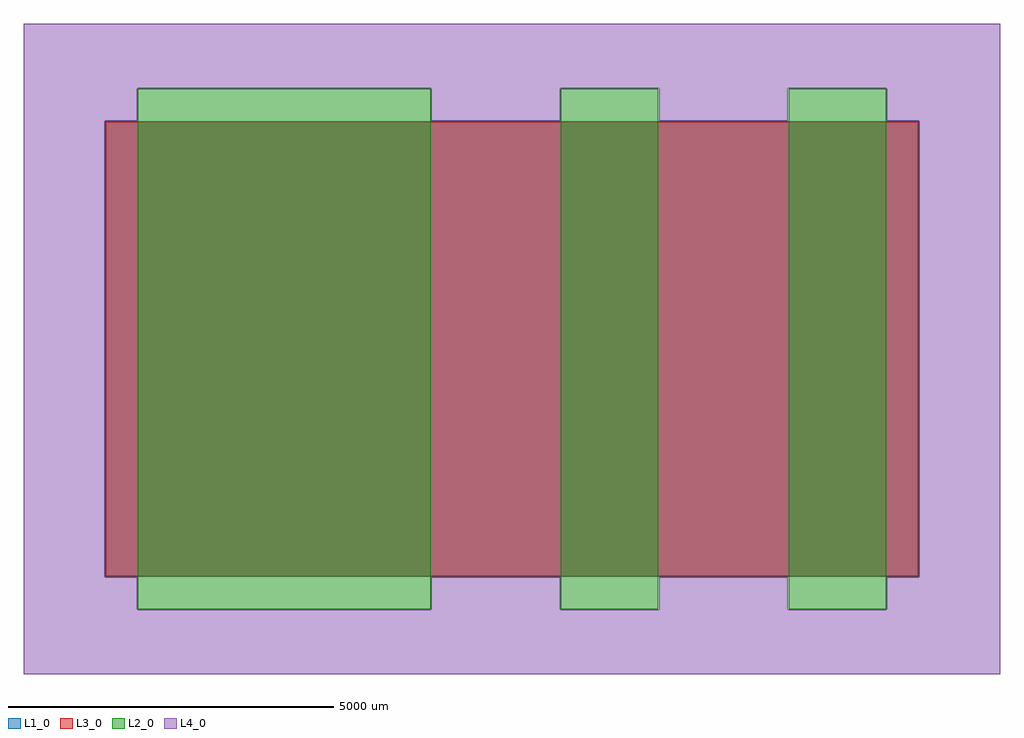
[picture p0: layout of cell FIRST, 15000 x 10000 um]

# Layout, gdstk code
import gdstk
lib = gdstk.Library(unit=1e-6, precision=1e-09)
def R(c, l, rs):  # rectangles x0, y0, x1, y1
    for r in rs: c.add(gdstk.rectangle(r[:2], r[2:], *l))
def P(c, l, *ps):  # polygons
    for p in ps: c.add(gdstk.Polygon(p, *l))
L1_0 = (1, 0)
L2_0 = (2, 0)
L3_0 = (3, 0)
L4_0 = (4, 0)

first = lib.new_cell('FIRST')
R(first, L1_0, [(-6250,-3500,6250,3500)])
R(first, L2_0, [(-5750,-4000,-1250,4000), (750,-4000,2250,4000), (4250,-4000,5750,4000)])
R(first, L3_0, [(-6240,-3490,6240,3490)])
P(first, L4_0, [(7500,5000),(-7500,5000),(-7500,-3510),(-6260,-3510),(-6260,3510),(-5760,3510),(-5760,4010),(-1240,4010),(-1240,3510),(740,3510),(740,4010),(2260,4010),(2260,3510),(4240,3510),(4240,4010),(5760,4010),(5760,3510),(6260,3510),(6260,-3510),(5760,-3510),(5760,-4010),(4240,-4010),(4240,-3510),(2260,-3510),(2260,-4010),(740,-4010),(740,-3510),(-1240,-3510),(-1240,-4010),(-5760,-4010),(-5760,-3510),(-6260,-3510),(-7500,-3510),(-7500,-5000),(7500,-5000)])

lib.write_gds('FIRST.gds')
